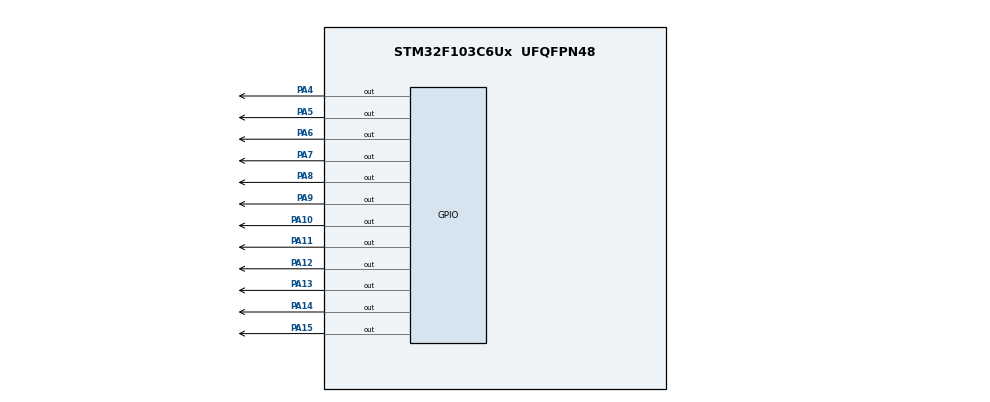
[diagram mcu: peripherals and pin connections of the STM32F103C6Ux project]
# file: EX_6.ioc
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Mcu.Family=STM32F1
Mcu.Name=STM32F103C6Ux
Mcu.Package=UFQFPN48
NVIC.PriorityGroup=NVIC_PRIORITYGROUP_4
PA10.Signal=GPIO_Output
PA11.Signal=GPIO_Output
PA12.Signal=GPIO_Output
PA13.Signal=GPIO_Output
PA14.Signal=GPIO_Output
PA15.Signal=GPIO_Output
PA4.Signal=GPIO_Output
PA5.Signal=GPIO_Output
PA6.Signal=GPIO_Output
PA7.Signal=GPIO_Output
PA8.Signal=GPIO_Output
PA9.Signal=GPIO_Output
ProjectManager.HeapSize=0x200
ProjectManager.StackSize=0x400
ProjectManager.TargetToolchain=STM32CubeIDE
RCC.APB1Freq_Value=8000000
RCC.APB2Freq_Value=8000000
VP_SYS_VS_ND.Mode=No_Debug
board=custom

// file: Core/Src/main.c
/* USER CODE BEGIN Header */
/**
  ******************************************************************************
  * @file           : main.c
  * @brief          : Main program body
  ******************************************************************************
  * @attention
  *
  * <h2><center>&copy; Copyright (c) 2022 STMicroelectronics.
  * All rights reserved.</center></h2>
  *
  * This software component is licensed by ST under BSD 3-Clause license,
  * the "License"; You may not use this file except in compliance with the
  * License. You may obtain a copy of the License at:
  *                        opensource.org/licenses/BSD-3-Clause
  *
  ******************************************************************************
  */
/* USER CODE END Header */
#include "main.h"

void SystemClock_Config(void);
static void MX_GPIO_Init(void);

int main(void)
{

  /* MCU Configuration--------------------------------------------------------*/

  /* Reset of all peripherals, Initializes the Flash interface and the Systick. */
  HAL_Init();

  /* Configure the system clock */
  SystemClock_Config();

  /* Initialize all configured peripherals */
  MX_GPIO_Init();

  /* Infinite loop */
  /* USER CODE BEGIN WHILE */

  uint16_t LEDpin [12] = {
   GPIO_PIN_4 , GPIO_PIN_5 , GPIO_PIN_6 ,
   GPIO_PIN_7 , GPIO_PIN_8 , GPIO_PIN_9 ,
   GPIO_PIN_10 , GPIO_PIN_11 , GPIO_PIN_12 , GPIO_PIN_13 , GPIO_PIN_14 , GPIO_PIN_15 };
  void testLED ( int nth) {
   HAL_GPIO_WritePin (GPIOA ,  GPIO_PIN_4 | GPIO_PIN_5
   | GPIO_PIN_6 | GPIO_PIN_7 | GPIO_PIN_8
   | GPIO_PIN_9 | GPIO_PIN_10 | GPIO_PIN_11
    | GPIO_PIN_12 | GPIO_PIN_13 | GPIO_PIN_14
	   | GPIO_PIN_15 , GPIO_PIN_SET );
    HAL_GPIO_WritePin (GPIOA , LEDpin [nth], GPIO_PIN_RESET );
    }

  //----EX_7-------
  void clearAllClock(){
      HAL_GPIO_WritePin (GPIOA , GPIO_PIN_1 | GPIO_PIN_2
   | GPIO_PIN_3 | GPIO_PIN_4 | GPIO_PIN_5
   | GPIO_PIN_6 | GPIO_PIN_7 | GPIO_PIN_8
   | GPIO_PIN_9 | GPIO_PIN_10 | GPIO_PIN_11
   | GPIO_PIN_12 , GPIO_PIN_SET );
  }

  //------EX_8-----------
  void setNumberOnClock (int num ) {
   HAL_GPIO_WritePin (GPIOA , LEDpin [num], GPIO_PIN_RESET );
   }

  //------EX_9--------
  void clearNumberOnClock (int num ) {
   HAL_GPIO_WritePin (GPIOA , LEDpin [num], GPIO_PIN_SET );
   }
  while (1)
  {
	  for ( int i =0; i <12; i++) {
	   testLED (i);
	  HAL_Delay (250) ;
	  }
    /* USER CODE END WHILE */

  }
}

void SystemClock_Config(void)
{
  RCC_OscInitTypeDef RCC_OscInitStruct = {0};
  RCC_ClkInitTypeDef RCC_ClkInitStruct = {0};

  /** Initializes the RCC Oscillators according to the specified parameters
  * in the RCC_OscInitTypeDef structure.
  */
  RCC_OscInitStruct.OscillatorType = RCC_OSCILLATORTYPE_HSI;
  RCC_OscInitStruct.HSIState = RCC_HSI_ON;
  RCC_OscInitStruct.HSICalibrationValue = RCC_HSICALIBRATION_DEFAULT;
  RCC_OscInitStruct.PLL.PLLState = RCC_PLL_NONE;
  if (HAL_RCC_OscConfig(&RCC_OscInitStruct) != HAL_OK)
  {
    Error_Handler();
  }
  /** Initializes the CPU, AHB and APB buses clocks
  */
  RCC_ClkInitStruct.ClockType = RCC_CLOCKTYPE_HCLK|RCC_CLOCKTYPE_SYSCLK
                              |RCC_CLOCKTYPE_PCLK1|RCC_CLOCKTYPE_PCLK2;
  RCC_ClkInitStruct.SYSCLKSource = RCC_SYSCLKSOURCE_HSI;
  RCC_ClkInitStruct.AHBCLKDivider = RCC_SYSCLK_DIV1;
  RCC_ClkInitStruct.APB1CLKDivider = RCC_HCLK_DIV1;
  RCC_ClkInitStruct.APB2CLKDivider = RCC_HCLK_DIV1;

  if (HAL_RCC_ClockConfig(&RCC_ClkInitStruct, FLASH_LATENCY_0) != HAL_OK)
  {
    Error_Handler();
  }
}

static void MX_GPIO_Init(void)
{
  GPIO_InitTypeDef GPIO_InitStruct = {0};

  /* GPIO Ports Clock Enable */
  __HAL_RCC_GPIOA_CLK_ENABLE();

  /*Configure GPIO pin Output Level */
  HAL_GPIO_WritePin(GPIOA, GPIO_PIN_4|GPIO_PIN_5|GPIO_PIN_6|GPIO_PIN_7
                          |GPIO_PIN_8|GPIO_PIN_9|GPIO_PIN_10|GPIO_PIN_11
                          |GPIO_PIN_12|GPIO_PIN_13|GPIO_PIN_14|GPIO_PIN_15, GPIO_PIN_RESET);

  /*Configure GPIO pins : PA4 PA5 PA6 PA7
                           PA8 PA9 PA10 PA11
                           PA12 PA13 PA14 PA15 */
  GPIO_InitStruct.Pin = GPIO_PIN_4|GPIO_PIN_5|GPIO_PIN_6|GPIO_PIN_7
                          |GPIO_PIN_8|GPIO_PIN_9|GPIO_PIN_10|GPIO_PIN_11
                          |GPIO_PIN_12|GPIO_PIN_13|GPIO_PIN_14|GPIO_PIN_15;
  GPIO_InitStruct.Mode = GPIO_MODE_OUTPUT_PP;
  GPIO_InitStruct.Pull = GPIO_NOPULL;
  GPIO_InitStruct.Speed = GPIO_SPEED_FREQ_LOW;
  HAL_GPIO_Init(GPIOA, &GPIO_InitStruct);

}

void Error_Handler(void)
{
  __disable_irq();
  while (1)
  {
  }
}

/************************ (C) COPYRIGHT STMicroelectronics *****END OF FILE****/
